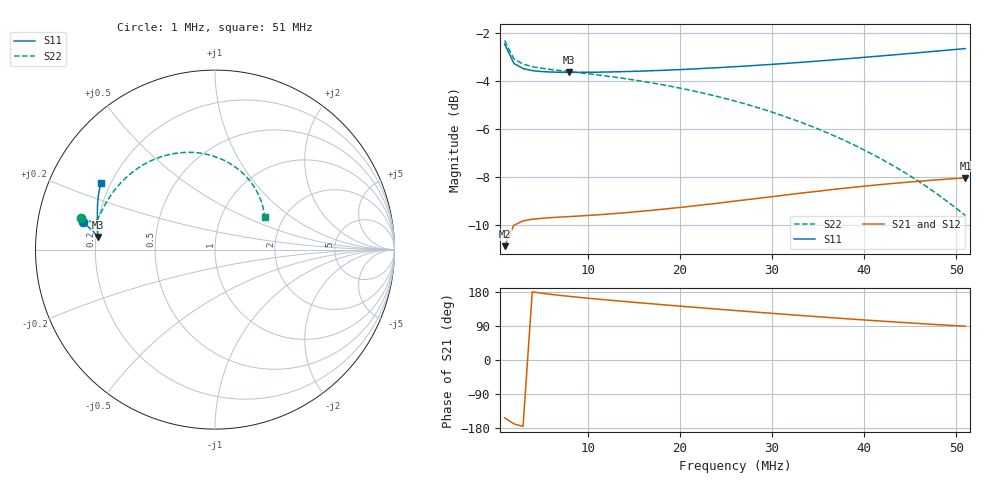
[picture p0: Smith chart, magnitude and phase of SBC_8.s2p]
# MHz S RI R 50
! S-Parameters data
! Freq  reS11  imS11  reS21  imS21  reS12  imS12  reS22  imS22
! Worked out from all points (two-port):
!   51 points, 1 MHz to 51 MHz, reference 50 ohm
!   highest |S21| = -8.03 dB at 51 MHz (marker M1); lowest = -10.9 dB at 1 MHz (marker M2)
!   |S21| within 3 dB of the highest: start of sweep to end of sweep
!   lowest |S11| = -3.6 dB at 8 MHz (marker M3), VSWR 4.83, Z = 10.4 + j2.58 ohm
!   |S11| at or under -10 dB: nowhere
!   |S22| runs from -9.6 to -2.3 dB; largest |S21 - S12| = 0.00035
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1  -0.7368 0.1538  -0.2543 -0.1316  -0.2543 -0.1315  -0.7449 0.1761
2  -0.6785 0.1026  -0.3099 -0.064  -0.3098 -0.0638  -0.6844 0.153
3  -0.6642 0.081  -0.3221 -0.0255  -0.3221 -0.0254  -0.6651 0.1576
5  -0.6562 0.0681  -0.3264 0.021  -0.3264 0.0211  -0.6416 0.1943
8  -0.6533 0.0707  -0.3226 0.0688  -0.3225 0.0689  -0.6041 0.2653
10  -0.653 0.0774  -0.3175 0.0957  -0.3173 0.096  -0.5732 0.313
14  -0.6527 0.0949  -0.303 0.1448  -0.303 0.1449  -0.4974 0.3997
18  -0.6532 0.1158  -0.2836 0.1899  -0.2836 0.1898  -0.4048 0.4694
20  -0.6537 0.1271  -0.2722 0.2111  -0.2722 0.211  -0.3541 0.4962
22  -0.6541 0.1389  -0.2597 0.2315  -0.2596 0.2314  -0.3011 0.5169
24  -0.6547 0.1509  -0.246 0.2508  -0.246 0.2509  -0.2465 0.5317
26  -0.655 0.1638  -0.2313 0.2696  -0.2313 0.2695  -0.1914 0.5399
28  -0.6553 0.1772  -0.2154 0.2871  -0.2154 0.287  -0.1362 0.5419
30  -0.6556 0.1908  -0.1986 0.3035  -0.1986 0.3035  -0.0815 0.5375
33  -0.6554 0.2128  -0.1717 0.3262  -0.1718 0.3261  -0.00317 0.519
35  -0.6552 0.2281  -0.1528 0.3395  -0.1529 0.3395  0.0461 0.4994
39  -0.6536 0.26  -0.1133 0.3624  -0.1134 0.3623  0.1344 0.4438
43  -0.6502 0.2948  -0.0728 0.3793  -0.0728 0.3793  0.2046 0.3695
45  -0.6476 0.3131  -0.0524 0.3856  -0.0525 0.3856  0.2319 0.3267
47  -0.6443 0.3323  -0.0323 0.3906  -0.0323 0.3906  0.2532 0.2809
49  -0.6401 0.3521  -0.013 0.3942  -0.013 0.3942  0.2681 0.2325
51  -0.6351 0.3725  0.00575 0.3969  0.00577 0.3968  0.2767 0.1825
